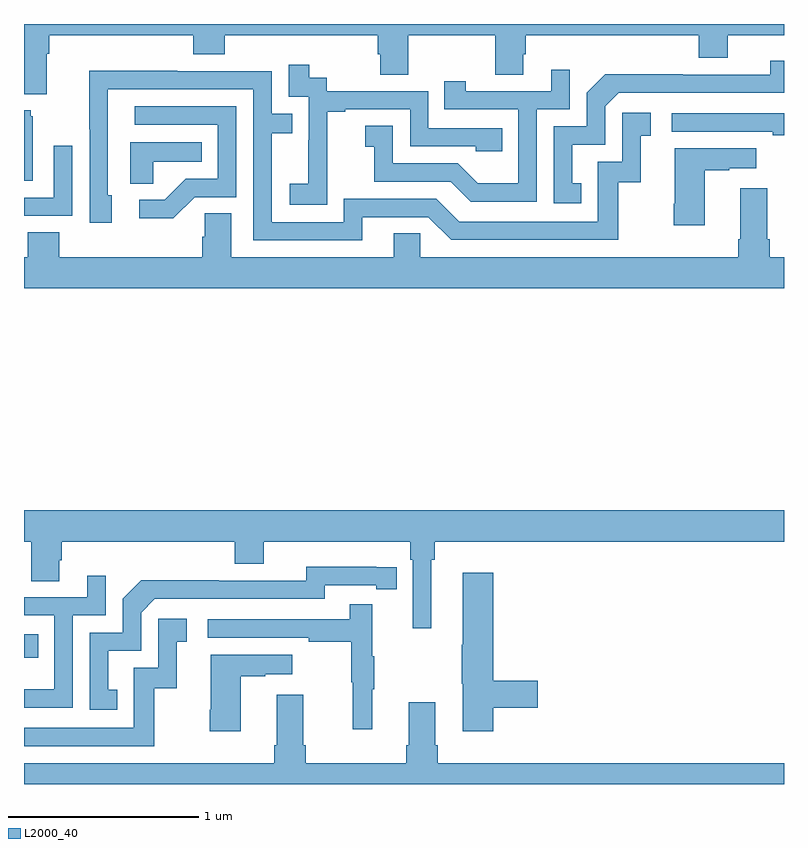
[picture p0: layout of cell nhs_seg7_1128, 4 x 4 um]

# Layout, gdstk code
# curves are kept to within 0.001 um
import gdstk
lib = gdstk.Library(unit=1e-6, precision=1e-09)
def R(c, l, rs):  # rectangles x0, y0, x1, y1
    for r in rs: c.add(gdstk.rectangle(r[:2], r[2:], *l))
def P(c, l, *ps):  # polygons
    for p in ps: c.add(gdstk.Polygon(p, *l))
L2000_40 = (2000, 40)

nhs_seg7_1128 = lib.new_cell('nhs_seg7_1128')
R(nhs_seg7_1128, L2000_40, [(191,1006.665,191.075,1006.788)])
P(nhs_seg7_1128, L2000_40, [(191.119,1009.844),(191.132,1009.844),(191.132,1009.94),(191.891,1009.94),(191.891,1009.841),(192.056,1009.841),(192.056,1009.94),(192.863,1009.94),(192.863,1009.842),(192.875,1009.842),(192.875,1009.732),(193.023,1009.732),(193.023,1009.94),(193.48,1009.94),(193.48,1009.732),(193.627,1009.732),(193.627,1009.842),(193.64,1009.842),(193.64,1009.94),(194.552,1009.94),(194.552,1009.823),(194.704,1009.823),(194.704,1009.94),(195,1009.94),(195,1010),(191,1010),(191,1009.631),(191.119,1009.631)],
  [(193.934,1009.161),(193.885,1009.161),(193.885,1009.365),(194.058,1009.365),(194.058,1009.566),(194.13,1009.638),(195,1009.638),(195,1009.807),(194.928,1009.807),(194.928,1009.734),(194.468,1009.734),(194.468,1009.736),(194.06,1009.736),(193.962,1009.638),(193.962,1009.461),(193.788,1009.461),(193.788,1009.056),(193.934,1009.056)],
  [(192.597,1009.255),(192.596,1009.255),(192.596,1009.539),(192.691,1009.539),(192.691,1009.551),(193.032,1009.551),(193.032,1009.356),(193.377,1009.356),(193.377,1009.329),(193.517,1009.329),(193.517,1009.452),(193.128,1009.452),(193.128,1009.647),(192.594,1009.647),(192.594,1009.716),(192.502,1009.716),(192.502,1009.786),(192.393,1009.786),(192.393,1009.617),(192.498,1009.617),(192.498,1009.388),(192.497,1009.388),(192.497,1009.159),(192.399,1009.159),(192.399,1009.049),(192.597,1009.049)],
  [(193.698,1009.551),(193.872,1009.551),(193.872,1009.759),(193.775,1009.759),(193.775,1009.647),(193.324,1009.647),(193.324,1009.699),(193.213,1009.699),(193.213,1009.551),(193.602,1009.551),(193.602,1009.162),(193.388,1009.162),(193.284,1009.266),(192.942,1009.266),(192.942,1009.465),(192.795,1009.465),(192.795,1009.355),(192.844,1009.355),(192.844,1009.17),(193.247,1009.17),(193.352,1009.065),(193.698,1009.065)],
  [(192.781,1008.984),(193.128,1008.984),(193.248,1008.864),(194.128,1008.864),(194.128,1009.167),(194.246,1009.167),(194.246,1009.413),(194.299,1009.413),(194.299,1009.534),(194.148,1009.534),(194.148,1009.275),(194.019,1009.275),(194.019,1008.96),(193.29,1008.96),(193.17,1009.08),(192.684,1009.08),(192.684,1008.957),(192.303,1008.957),(192.303,1009.426),(192.413,1009.426),(192.413,1009.527),(192.303,1009.527),(192.303,1009.752),(191.807,1009.752),(191.807,1009.754),(191.344,1009.754),(191.344,1009.447),(191.346,1009.447),(191.346,1008.954),(191.461,1008.954),(191.461,1009.098),(191.442,1009.098),(191.442,1009.656),(192.207,1009.656),(192.207,1008.861),(192.781,1008.861)],
  [(191.898,1009.089),(192.117,1009.089),(192.117,1009.566),(191.583,1009.566),(191.583,1009.47),(192.021,1009.47),(192.021,1009.185),(191.852,1009.185),(191.741,1009.074),(191.607,1009.074),(191.607,1008.977),(191.785,1008.977)],
  [(191.047,1009.515),(191.036,1009.515),(191.036,1009.546),(191,1009.546),(191,1009.175),(191.047,1009.175)],
  [(195,1009.53),(194.409,1009.53),(194.409,1009.434),(194.941,1009.434),(194.941,1009.414),(195,1009.414)],
  [(191.679,1009.274),(191.936,1009.274),(191.936,1009.378),(191.558,1009.378),(191.558,1009.159),(191.679,1009.159)],
  [(191.253,1009.36),(191.157,1009.36),(191.157,1009.086),(191,1009.086),(191,1008.99),(191.253,1008.99)],
  [(194.584,1009.231),(194.711,1009.231),(194.711,1009.241),(194.854,1009.241),(194.854,1009.345),(194.426,1009.345),(194.426,1009.054),(194.419,1009.054),(194.419,1008.942),(194.584,1008.942)],
  [(195,1008.772),(194.924,1008.772),(194.924,1008.868),(194.911,1008.868),(194.911,1009.135),(194.771,1009.135),(194.771,1008.868),(194.759,1008.868),(194.759,1008.772),(193.086,1008.772),(193.086,1008.899),(192.947,1008.899),(192.947,1008.772),(192.091,1008.772),(192.091,1009.004),(191.952,1009.004),(191.952,1008.881),(191.939,1008.881),(191.939,1008.772),(191.186,1008.772),(191.186,1008.905),(191.021,1008.905),(191.021,1008.772),(191,1008.772),(191,1008.608),(195,1008.608)],
  [(193.144,1007.18),(193.163,1007.18),(193.163,1007.276),(195,1007.276),(195,1007.44),(191,1007.44),(191,1007.276),(191.038,1007.276),(191.038,1007.068),(191.185,1007.068),(191.185,1007.178),(191.198,1007.178),(191.198,1007.276),(192.11,1007.276),(192.11,1007.159),(192.262,1007.159),(192.262,1007.276),(193.034,1007.276),(193.034,1007.18),(193.047,1007.18),(193.047,1006.821),(193.144,1006.821)],
  [(191.492,1006.497),(191.443,1006.497),(191.443,1006.701),(191.616,1006.701),(191.616,1006.902),(191.688,1006.974),(192.582,1006.974),(192.582,1007.046),(192.854,1007.046),(192.854,1007.026),(192.962,1007.026),(192.962,1007.142),(192.486,1007.143),(192.486,1007.07),(192.026,1007.07),(192.026,1007.072),(191.618,1007.072),(191.52,1006.974),(191.52,1006.797),(191.346,1006.797),(191.346,1006.392),(191.492,1006.392)],
  [(193.469,1006.402),(193.705,1006.402),(193.705,1006.544),(193.469,1006.544),(193.469,1007.113),(193.31,1007.113),(193.31,1006.733),(193.303,1006.733),(193.303,1006.527),(193.31,1006.527),(193.31,1006.278),(193.469,1006.278)],
  [(191.256,1006.887),(191.43,1006.887),(191.43,1007.095),(191.333,1007.095),(191.333,1006.983),(191,1006.983),(191,1006.887),(191.16,1006.887),(191.16,1006.498),(191,1006.498),(191,1006.401),(191.256,1006.401)],
  [(192.833,1006.499),(192.844,1006.499),(192.844,1006.673),(192.833,1006.673),(192.833,1006.945),(192.715,1006.945),(192.715,1006.866),(191.967,1006.866),(191.967,1006.77),(192.499,1006.77),(192.499,1006.75),(192.723,1006.75),(192.723,1006.536),(192.73,1006.536),(192.73,1006.287),(192.833,1006.287)],
  [(191.686,1006.503),(191.804,1006.503),(191.804,1006.749),(191.857,1006.749),(191.857,1006.87),(191.706,1006.87),(191.706,1006.611),(191.577,1006.611),(191.577,1006.296),(191,1006.296),(191,1006.2),(191.686,1006.2)],
  [(192.142,1006.567),(192.269,1006.567),(192.269,1006.577),(192.412,1006.577),(192.412,1006.681),(191.984,1006.681),(191.984,1006.39),(191.977,1006.39),(191.977,1006.278),(192.142,1006.278)],
  [(193.178,1006.204),(193.165,1006.204),(193.165,1006.429),(193.025,1006.429),(193.025,1006.204),(193.013,1006.204),(193.013,1006.108),(192.482,1006.108),(192.482,1006.204),(192.469,1006.204),(192.469,1006.471),(192.329,1006.471),(192.329,1006.204),(192.317,1006.204),(192.317,1006.108),(191,1006.108),(191,1006),(195,1006),(195,1006.108),(193.178,1006.108)])

lib.write_gds('nhs_seg7_1128.gds')
